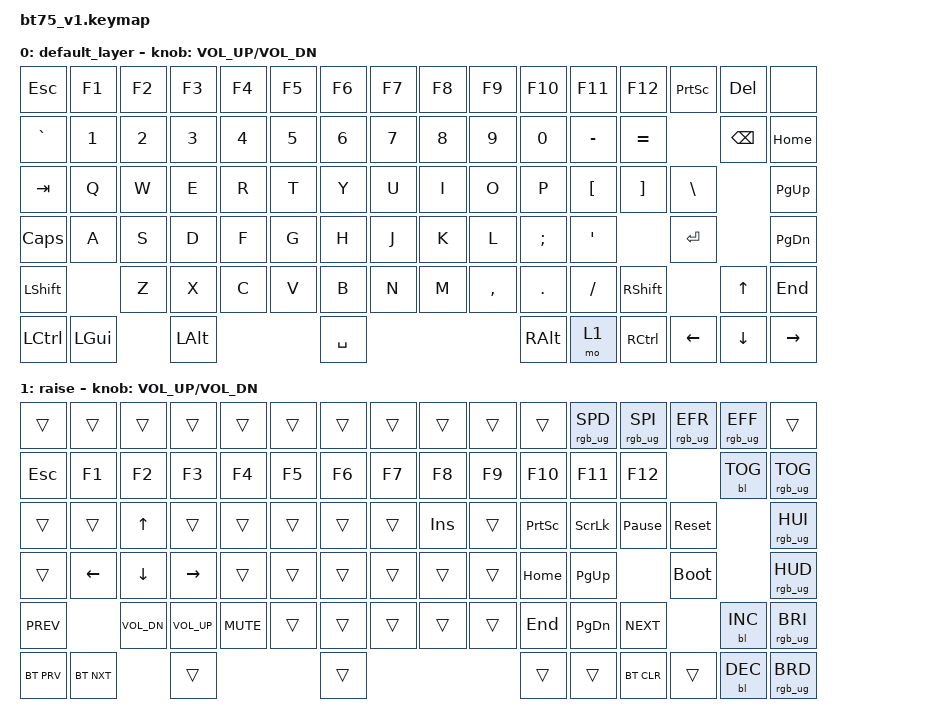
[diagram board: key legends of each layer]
#include <behaviors.dtsi>
#include <dt-bindings/zmk/backlight.h>
#include <dt-bindings/zmk/bt.h>
#include <dt-bindings/zmk/keys.h>
#include <dt-bindings/zmk/rgb.h>

/ {
    keymap {
        compatible = "zmk,keymap";

        default_layer {
            // ------------------------------------------------------------------------------------------------------------
            // | ESC | F1  | F2  | F3  | F4  | F5  | F6  | F7  | F9  | F9  | F10 | F11 | F12 | INS | DEL | C_MUTE	|
            // |  `  |  1  |  2  |  3  |  4  |  5  |  6  |  7  |  8  |  9  |  0  |  -  |  =  |   BKSP   | HOME	|
            // | TAB  |  Q  |  W  |  E  |  R  |  T  |  Y  |  U  |  I  |  O  |  P  |  [  |  ]  |    \    | PG UP |
            // | CAPS  |  A  |  S  |  D  |  F  |  G  |  H  |  J  |  K  |  L  |  ;  |  '  |     ENTER     | PG DN |
            // |  SHIFT    |  Z  |  X  |  C  |  V  |  B  |  N  |  M  |  ,  |  .  | /   |    SHIFT |  UP  |  END  |
            // |  CTL  |  WIN  |  ALT  |            SPACE               | ALT | 1  | CTRL |  LEFT | DOWN | RIGHT |
            // ------------------------------------------------------------------------------------------------------------

            bindings = <
&kp ESC    &kp F1    &kp F2  &kp F3    &kp F4  &kp F5  &kp F6     &kp F7  &kp F8  &kp F9     &kp F10   &kp F11    &kp F12    &kp PRINTSCREEN  &kp DEL        &none
&kp GRAVE  &kp N1    &kp N2  &kp N3    &kp N4  &kp N5  &kp N6     &kp N7  &kp N8  &kp N9     &kp N0    &kp MINUS  &kp EQUAL                   &kp BACKSPACE  &kp HOME
&kp TAB    &kp Q     &kp W   &kp E     &kp R   &kp T   &kp Y      &kp U   &kp I   &kp O      &kp P     &kp LBKT   &kp RBKT   &kp BSLH                        &kp PG_UP
&kp CLCK   &kp A     &kp S   &kp D     &kp F   &kp G   &kp H      &kp J   &kp K   &kp L      &kp SEMI  &kp SQT               &kp RET                         &kp PG_DN
&kp LSHFT            &kp Z   &kp X     &kp C   &kp V   &kp B      &kp N   &kp M   &kp COMMA  &kp DOT   &kp FSLH   &kp RSHFT                   &kp UP         &kp END
&kp LCTRL  &kp LGUI          &kp LALT                  &kp SPACE                             &kp RALT  &mo 1      &kp RCTRL  &kp LEFT         &kp DOWN       &kp RIGHT
            >;

            sensor-bindings = <&inc_dec_kp C_VOL_UP C_VOL_DN>;
        };

        raise {
            bindings = <
&trans      &trans      &trans        &trans        &trans      &trans  &trans  &trans  &trans   &trans  &trans     &rgb_ug RGB_SPD  &rgb_ug RGB_SPI  &rgb_ug RGB_EFR  &rgb_ug RGB_EFF  &trans
&kp ESC     &kp F1      &kp F2        &kp F3        &kp F4      &kp F5  &kp F6  &kp F7  &kp F8   &kp F9  &kp F10    &kp F11          &kp F12                           &bl BL_TOG       &rgb_ug RGB_TOG
&trans      &trans      &kp UP        &trans        &trans      &trans  &trans  &trans  &kp INS  &trans  &kp PSCRN  &kp SLCK         &kp PAUSE_BREAK  &sys_reset                        &rgb_ug RGB_HUI
&trans      &kp LEFT    &kp DOWN      &kp RIGHT     &trans      &trans  &trans  &trans  &trans   &trans  &kp HOME   &kp PG_UP                         &bootloader                       &rgb_ug RGB_HUD
&kp C_PREV              &kp C_VOL_DN  &kp C_VOL_UP  &kp C_MUTE  &trans  &trans  &trans  &trans   &trans  &kp END    &kp PG_DN        &kp C_NEXT                        &bl BL_INC       &rgb_ug RGB_BRI
&bt BT_PRV  &bt BT_NXT                &trans                            &trans                           &trans     &trans           &bt BT_CLR       &trans           &bl BL_DEC       &rgb_ug RGB_BRD
            >;

            sensor-bindings = <&inc_dec_kp C_VOL_UP C_VOL_DN>;
        };
    };
};
